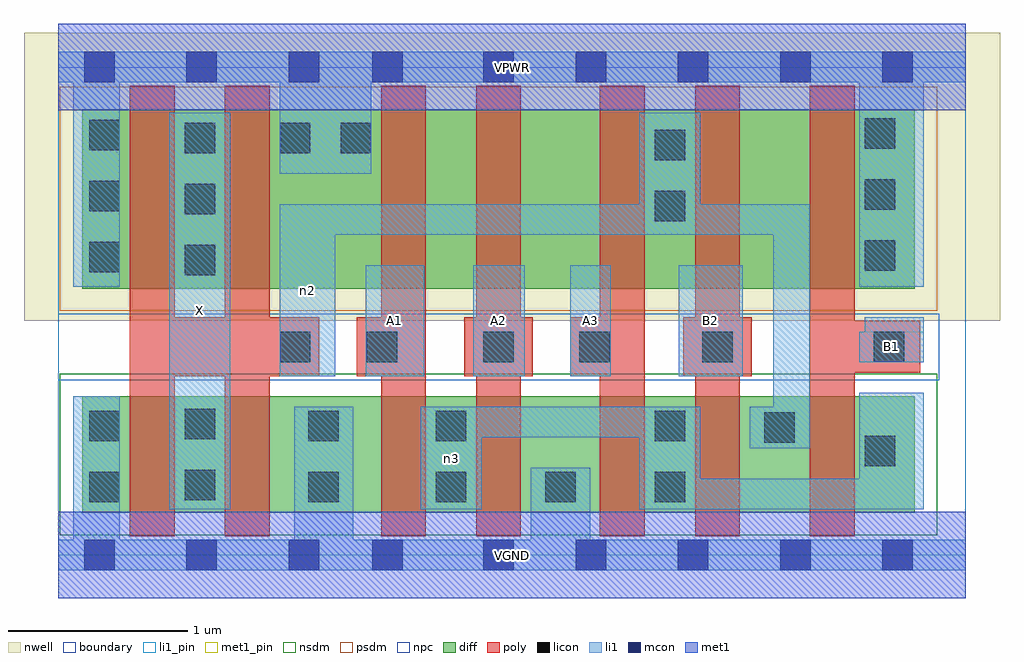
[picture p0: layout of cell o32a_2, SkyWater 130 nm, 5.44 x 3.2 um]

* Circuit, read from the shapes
.subckt o32a_2 A1 A2 A3 B1 B2 VGND VPWR X n2 n3
XM1 X n2 VGND VSUBS sky130_fd_pr__nfet_01v8 w=0.65 l=0.25 m=2
XM2 n3 A1 VGND VSUBS sky130_fd_pr__nfet_01v8 w=0.65 l=0.25
XM3 VGND A2 n3 VSUBS sky130_fd_pr__nfet_01v8 w=0.65 l=0.25
XM4 n3 A3 VGND VSUBS sky130_fd_pr__nfet_01v8 w=0.65 l=0.25
XM5 n2 B2 n3 VSUBS sky130_fd_pr__nfet_01v8 w=0.65 l=0.25
XM6 n3 B1 n2 VSUBS sky130_fd_pr__nfet_01v8 w=0.65 l=0.25
XM7 X n2 VPWR n1 sky130_fd_pr__pfet_01v8 w=1 l=0.25 m=2
XM8 n4 A1 VPWR n1 sky130_fd_pr__pfet_01v8 w=1 l=0.25
XM9 n5 A2 n4 n1 sky130_fd_pr__pfet_01v8 w=1 l=0.25
XM10 n2 A3 n5 n1 sky130_fd_pr__pfet_01v8 w=1 l=0.25
XM11 n6 B2 n2 n1 sky130_fd_pr__pfet_01v8 w=1 l=0.25
XM12 VPWR B1 n6 n1 sky130_fd_pr__pfet_01v8 w=1 l=0.25
.ends

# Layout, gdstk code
import gdstk
lib = gdstk.Library(unit=1e-6, precision=1e-09)
def R(c, l, rs):  # rectangles x0, y0, x1, y1
    for r in rs: c.add(gdstk.rectangle(r[:2], r[2:], *l))
def A(c, l, x, y, w, h, nx, ny, dx, dy):  # array of equal rectangles
    R(c, l, [(x+i*dx, y+j*dy, x+i*dx+w, y+j*dy+h) for i in range(nx) for j in range(ny)])
nwell = (64, 20)
diff = (65, 20)
poly = (66, 20)
licon = (66, 44)
li1_pin = (67, 16)
li1 = (67, 20)
mcon = (67, 44)
met1_pin = (68, 16)
met1 = (68, 20)
nsdm = (93, 44)
psdm = (94, 20)
npc = (95, 20)
boundary = (235, 4)

o32a_2 = lib.new_cell('o32a_2')
R(o32a_2, nwell, [(-0.19,1.305,5.25,2.91), (0,1.305,5.06,2.91)])
R(o32a_2, diff, [(0.135,0.235,4.775,0.885), (0.135,1.485,4.775,2.485)])
R(o32a_2, poly, [(0.4,0.105,0.65,2.615), (0.93,0.105,1.18,2.615), (1.8,0.105,2.05,2.615), (2.33,0.105,2.58,2.615), (3.02,0.105,3.27,2.615), (3.55,0.105,3.8,2.615), (4.19,0.105,4.44,2.615), (0.4,0.995,1.455,1.325), (1.665,0.995,2.05,1.325), (2.265,0.995,2.645,1.325), (2.855,0.995,3.27,1.325), (3.485,0.995,3.865,1.325), (4.19,1.015,4.805,1.305)])
A(o32a_2, licon, 2.105, 0.295, 0.17, 0.17, 3, 1, 0.61, 0)
A(o32a_2, licon, 0.705, 1.56, 0.17, 0.17, 1, 3, 0, 0.34)
A(o32a_2, licon, 0.175, 1.575, 0.17, 0.17, 1, 3, 0, 0.34)
A(o32a_2, licon, 4.495, 1.585, 0.17, 0.17, 1, 3, 0, 0.34)
R(o32a_2, licon, [(0.175,0.295,0.345,0.465), (1.395,0.295,1.565,0.465), (0.705,0.305,0.875,0.475), (4.495,0.495,4.665,0.665), (3.935,0.625,4.105,0.795), (0.175,0.635,0.345,0.805), (1.395,0.635,1.565,0.805), (2.105,0.635,2.275,0.805), (3.325,0.635,3.495,0.805), (0.705,0.645,0.875,0.815), (1.235,1.075,1.405,1.245), (1.72,1.075,1.89,1.245), (2.37,1.075,2.54,1.245), (2.905,1.075,3.075,1.245), (3.59,1.075,3.76,1.245), (4.545,1.075,4.715,1.245), (3.325,1.86,3.495,2.03), (3.325,2.2,3.495,2.37), (1.235,2.24,1.405,2.41), (1.575,2.24,1.745,2.41)])
R(o32a_2, li1_pin, [(0.62,0.255,0.96,2.465), (1.715,0.995,2.04,1.615), (2.315,0.995,2.6,1.615), (2.855,0.995,3.08,1.615), (3.46,0.995,3.815,1.615), (4.465,1.075,4.825,1.245)])
R(o32a_2, li1, [(0,-0.085,5.06,0.085), (0.085,-0.085,0.345,0.885), (1.315,-0.085,1.645,0.825), (2.635,-0.085,2.965,0.485), (0.62,0.255,0.96,2.465), (2.02,0.255,2.36,0.825), (3.24,0.255,3.58,0.825), (3.24,0.255,4.825,0.425), (4.465,0.255,4.825,0.905), (3.855,0.595,4.19,0.825), (3.985,0.595,4.19,1.955), (2.02,0.655,3.58,0.825), (1.235,0.995,1.545,1.955), (1.715,0.995,2.04,1.615), (2.315,0.995,2.6,1.615), (2.855,0.995,3.08,1.615), (3.46,0.995,3.815,1.615), (4.465,1.075,4.825,1.245), (4.495,1.075,4.825,1.325), (0.085,1.495,0.345,2.805), (4.465,1.495,4.825,2.805), (1.235,1.785,4.19,1.955), (3.24,1.785,3.58,2.465), (1.235,2.125,1.745,2.805), (0,2.635,5.06,2.805)])
A(o32a_2, mcon, 0.145, -0.085, 0.17, 0.17, 3, 2, 0.57, 2.72)
A(o32a_2, mcon, 2.885, -0.085, 0.17, 0.17, 4, 2, 0.57, 2.72)
R(o32a_2, mcon, [(1.75,-0.085,1.92,0.085), (2.37,-0.085,2.54,0.085), (1.75,2.635,1.92,2.805), (2.37,2.635,2.54,2.805)])
R(o32a_2, met1_pin, [(0,-0.24,5.06,0.24), (0,2.48,5.06,2.96)])
R(o32a_2, met1, [(0,-0.24,5.06,0.24), (0,2.48,5.06,2.96)])
R(o32a_2, nsdm, [(0.01,0.11,4.9,1.01)])
R(o32a_2, psdm, [(0.01,1.36,4.9,2.61)])
R(o32a_2, npc, [(0,0.975,4.91,1.345)])
R(o32a_2, boundary, [(0,0,5.06,2.72)])
o32a_2.add(gdstk.Label('A1', (1.877,1.305), layer=67, texttype=5))
o32a_2.add(gdstk.Label('A2', (2.457,1.305), layer=67, texttype=5))
o32a_2.add(gdstk.Label('A3', (2.967,1.305), layer=67, texttype=5))
o32a_2.add(gdstk.Label('B1', (4.645,1.16), layer=67, texttype=5))
o32a_2.add(gdstk.Label('B2', (3.637,1.305), layer=67, texttype=5))
o32a_2.add(gdstk.Label('X', (0.79,1.36), layer=67, texttype=5))
o32a_2.add(gdstk.Label('n3', (2.19,0.54), layer=67, texttype=5))
o32a_2.add(gdstk.Label('n2', (1.39,1.475), layer=67, texttype=5))
o32a_2.add(gdstk.Label('VPWR', (2.53,2.72), layer=68, texttype=5))
o32a_2.add(gdstk.Label('VGND', (2.53,0), layer=68, texttype=5))
o32a_2.add(gdstk.Label('A1', (1.877,1.305), layer=67, texttype=16))
o32a_2.add(gdstk.Label('A2', (2.457,1.305), layer=67, texttype=16))
o32a_2.add(gdstk.Label('A3', (2.967,1.305), layer=67, texttype=16))
o32a_2.add(gdstk.Label('B1', (4.645,1.16), layer=67, texttype=16))
o32a_2.add(gdstk.Label('B2', (3.637,1.305), layer=67, texttype=16))
o32a_2.add(gdstk.Label('X', (0.79,1.36), layer=67, texttype=16))
o32a_2.add(gdstk.Label('VPWR', (2.53,2.72), layer=68, texttype=16))
o32a_2.add(gdstk.Label('VGND', (2.53,0), layer=68, texttype=16))

lib.write_gds('o32a_2.gds')
